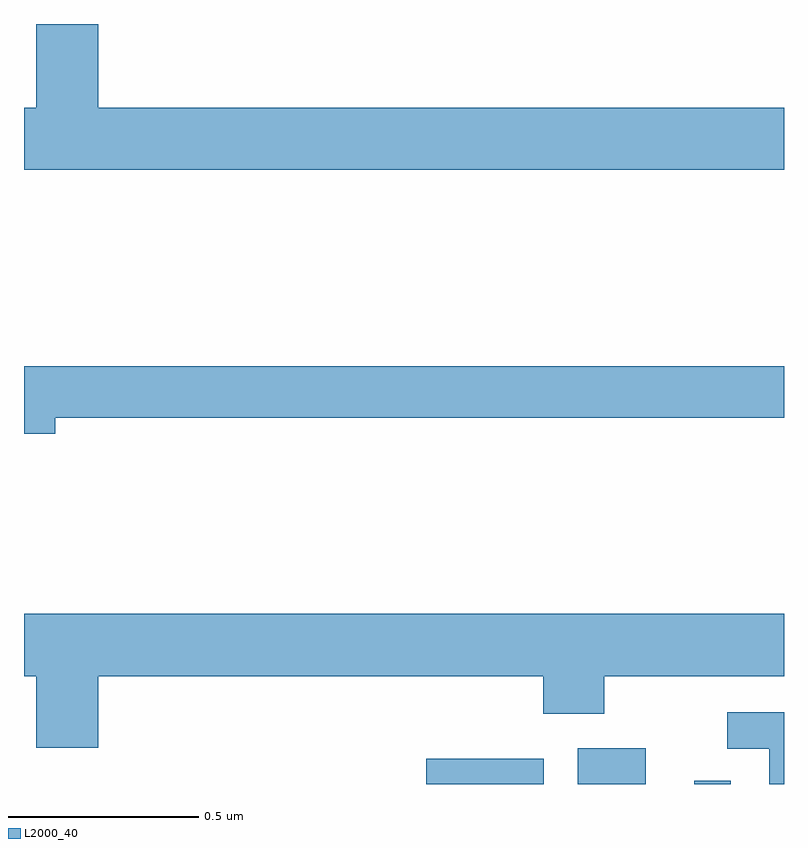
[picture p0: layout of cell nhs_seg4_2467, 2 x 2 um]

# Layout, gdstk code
import gdstk
lib = gdstk.Library(unit=1e-6, precision=1e-09)
def R(c, l, rs):  # rectangles x0, y0, x1, y1
    for r in rs: c.add(gdstk.rectangle(r[:2], r[2:], *l))
def P(c, l, *ps):  # polygons
    for p in ps: c.add(gdstk.Polygon(p, *l))
L2000_40 = (2000, 40)

nhs_seg4_2467 = lib.new_cell('nhs_seg4_2467')
R(nhs_seg4_2467, L2000_40, [(142.059,765.9,142.368,765.966), (142.457,765.9,142.636,765.994), (142.764,765.9,142.86,765.908)])
P(nhs_seg4_2467, L2000_40, [(143,767.68),(141.196,767.68),(141.196,767.9),(141.032,767.9),(141.032,767.68),(141,767.68),(141,767.516),(143,767.516)],
  [(141.082,766.864),(143,766.864),(143,767),(141,767),(141,766.822),(141.082,766.822)],
  [(141.196,766.184),(142.367,766.184),(142.367,766.085),(142.527,766.085),(142.527,766.184),(143,766.184),(143,766.348),(141,766.348),(141,766.184),(141.032,766.184),(141.032,765.996),(141.196,765.996)],
  [(143,766.089),(142.851,766.089),(142.851,765.993),(142.961,765.993),(142.961,765.9),(143,765.9)])

lib.write_gds('nhs_seg4_2467.gds')
